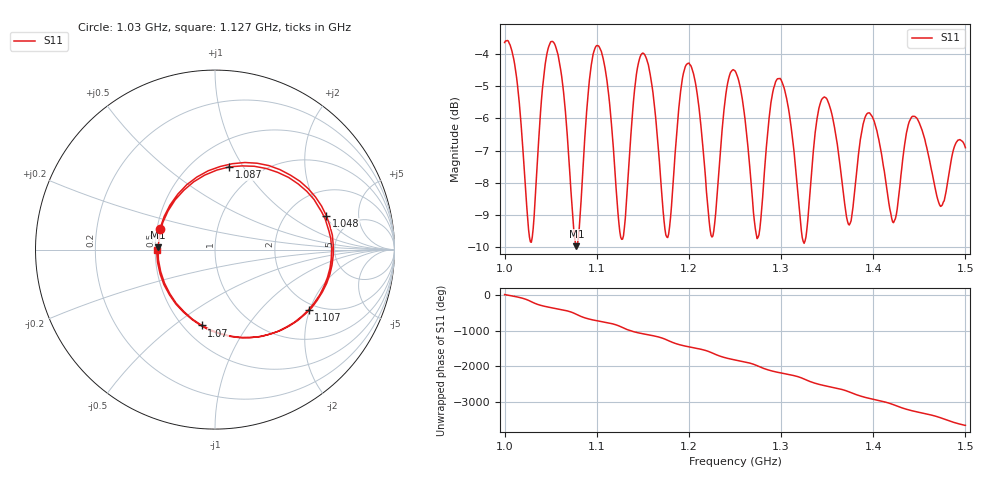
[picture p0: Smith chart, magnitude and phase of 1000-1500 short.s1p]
! NanoVNA-App by SYSJOINT et al v1.1.209 (+OD18)
! Date: 2025-09-17 10:18:51
! Start: 1GHz Stop: 1.5GHz Points: 501
! S-Parameter data: F S11
# Hz S RI R 50
!  Frequency  S11_Real  S11_Imag
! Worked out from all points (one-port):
!   501 points, 1 GHz to 1.5 GHz, reference 50 ohm
!   lowest |S11| = -10.0 dB at 1.078 GHz (marker M1), VSWR 1.93, Z = 25.9 + j0.716 ohm
!   |S11| at or under -10 dB: nowhere
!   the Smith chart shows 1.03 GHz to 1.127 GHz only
!   S11 on the Smith chart (normalised r, x): 1.03 GHz: 0.52, +0.14; 1.048 GHz: 3.21, +2.10; 1.07 GHz: 0.61, -0.63; 1.087 GHz: 0.74, +0.87; 1.107 GHz: 1.80, -1.96; 1.127 GHz: 0.51, -0.00
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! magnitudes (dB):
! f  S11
! 1 GHz  -3.6
! 1.03 GHz  -9.7
! 1.048 GHz  -3.8
! 1.063 GHz  -4.9
! 1.07 GHz  -7.4
! 1.078 GHz  -10.0
! 1.087 GHz  -6.6
! 1.096 GHz  -4.0
! 1.107 GHz  -4.2
! 1.125 GHz  -9.5
! 1.127 GHz  -9.7
! 1.148 GHz  -4.0
! 1.176 GHz  -9.7
! 1.188 GHz  -6.0
! 1.204 GHz  -4.5
! 1.225 GHz  -9.7
! 1.25 GHz  -4.5
! 1.274 GHz  -9.7
! 1.294 GHz  -4.9
! 1.313 GHz  -6.8
! 1.325 GHz  -9.9
! 1.349 GHz  -5.4
! 1.375 GHz  -9.2
! 1.393 GHz  -5.9
! 1.422 GHz  -9.2
! 1.438 GHz  -6.2
! 1.473 GHz  -8.7
! 1.5 GHz  -6.9
